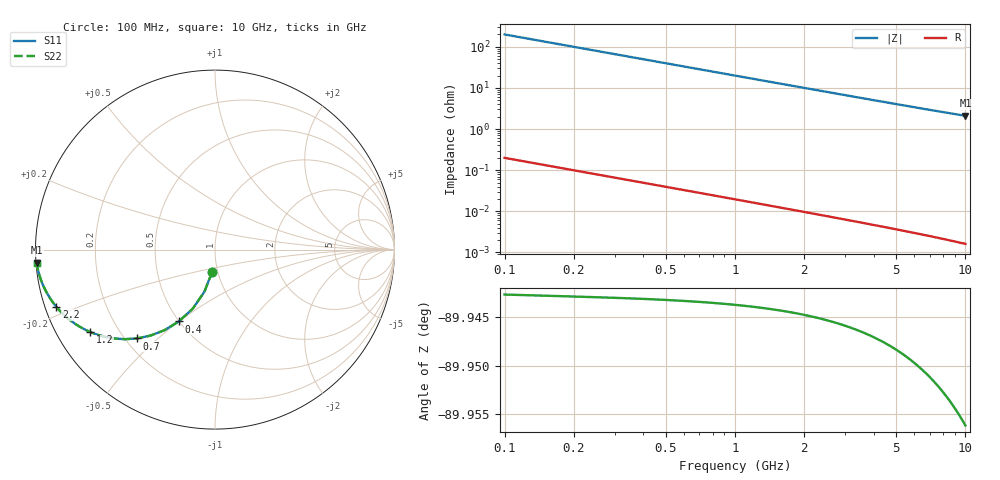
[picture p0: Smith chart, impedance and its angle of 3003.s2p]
# Hz S RI R 50.00
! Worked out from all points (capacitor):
!   100 points, 100 MHz to 10 GHz, reference 50 ohm
!   read as one part in shunt: C = 7.99 pF near 100 MHz
!   lowest |Z| = 2.1 ohm at 10 GHz (marker M1)
!   S11 on the Smith chart (normalised r, x): 100 MHz: 0.94, -0.24; 400 MHz: 0.50, -0.50; 700 MHz: 0.25, -0.43; 1.2 GHz: 0.10, -0.30; 2.2 GHz: 0.03, -0.17; 10 GHz: 0.00, -0.04
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1e8  -0.0156 -0.1235  0.9843 -0.1236  0.9843 -0.1236  -0.0156 -0.1235
2e8  -0.0595 -0.236  0.9405 -0.2362  0.9405 -0.2362  -0.0595 -0.236
3e8  -0.1245 -0.3295  0.8755 -0.3298  0.8755 -0.3298  -0.1245 -0.3295
4e8  -0.2016 -0.4005  0.7983 -0.4009  0.7983 -0.4009  -0.2016 -0.4005
5e8  -0.2828 -0.4496  0.7171 -0.4501  0.7171 -0.4501  -0.2828 -0.4496
6e8  -0.3621 -0.4798  0.6379 -0.4804  0.6379 -0.4804  -0.3621 -0.4798
7e8  -0.4357 -0.495  0.5642 -0.4957  0.5642 -0.4957  -0.4357 -0.495
9e8  -0.5605 -0.4954  0.4394 -0.4963  0.4394 -0.4963  -0.5605 -0.4954
1e9  -0.6115 -0.4864  0.3884 -0.4874  0.3884 -0.4874  -0.6115 -0.4864
1.2e9  -0.6937 -0.4598  0.3062 -0.461  0.3062 -0.461  -0.6937 -0.4598
1.3e9  -0.7266 -0.4445  0.2734 -0.4458  0.2734 -0.4458  -0.7266 -0.4445
1.5e9  -0.7795 -0.4133  0.2204 -0.4148  0.2204 -0.4148  -0.7795 -0.4133
1.8e9  -0.8357 -0.3691  0.1642 -0.3709  0.1642 -0.3709  -0.8357 -0.3691
2.2e9  -0.8836 -0.3191  0.1164 -0.3213  0.1164 -0.3213  -0.8836 -0.3191
2.7e9  -0.9195 -0.2702  0.0805 -0.2729  0.0805 -0.2729  -0.9195 -0.2702
3.4e9  -0.9476 -0.2205  0.0524 -0.224  0.0524 -0.224  -0.9476 -0.2205
4.2e9  -0.965 -0.1811  0.035 -0.1854  0.035 -0.1854  -0.965 -0.1811
5.1e9  -0.976 -0.1499  0.024 -0.1551  0.024 -0.1551  -0.976 -0.1499
5.9e9  -0.9819 -0.1295  0.018 -0.1356  0.018 -0.1356  -0.9819 -0.1295
6.7e9  -0.9859 -0.1136  0.014 -0.1205  0.014 -0.1205  -0.9859 -0.1136
8.4e9  -0.991 -0.0891  0.00888 -0.0978  0.00888 -0.0978  -0.991 -0.0891
1e10  -0.9937 -0.0731  0.00621 -0.0836  0.00621 -0.0836  -0.9937 -0.0731
